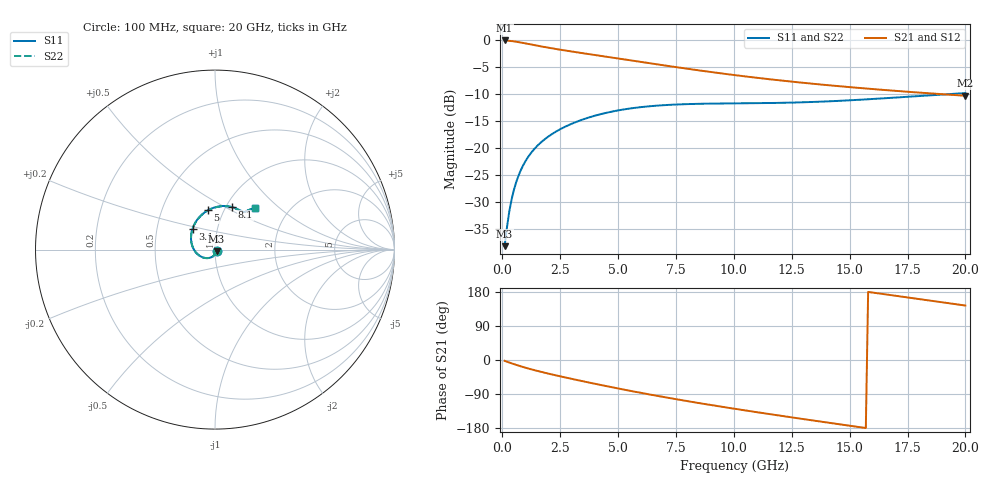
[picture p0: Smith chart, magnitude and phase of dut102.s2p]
! Touchstone file exported from HFSS 2023.1.0
!  File:  D:/Users/fzz/RDL_TSV/temp_RDL_TSV_102_1778749048.aedt
!  Generated:  5:06:19 %x4E0B%x5348  5%x6708 14, 2026
!  Design:  RDL_TSV
!  Project:  temp_RDL_TSV_102_1778749048
!  Setup:  Setup1
!  Solution:  Sweep
! Variables:
!  dtsv = 18.56um
!  hbump = 3um
!  htsv = 79.02um
!  ldown = 120.13um
!  lrdl = 639.95um
!  p = 40
!  p1 = 56.39um
!  rhole = 10um
!  subl = 2920.19um
!  t = 450um
!  tdown = 3.29um
!  trdl = 4.57um
!  viad = 10um
!  wdown = 24.02um
!  wrdl = 27.2um
!  xbump = 18um
# GHz S MA R 50.000000
! Terminal data exported
! Port[1] = TM1_1_T1
! Port[2] = TM1_4_T1
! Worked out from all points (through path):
!   200 points, 100 MHz to 20 GHz, reference 50 ohm
!   highest |S21| = -0.09 dB at 100 MHz (marker M1); lowest = -10.3 dB at 20 GHz (marker M2)
!   group delay of S21, straight-line fit = 28.3 ps
!   lowest |S11| = -38.2 dB at 100 MHz (marker M3), VSWR 1.03, Z = 50.9 - j0.882 ohm
!   |S11| at or under -10 dB: start of sweep to 19.36 GHz
!   |S22| runs from -38.2 to -9.9 dB; largest |S21 - S12| = 9.5e-15
!   S11 on the Smith chart (normalised r, x): 100 MHz: 1.02, -0.02; 3.1 GHz: 0.76, +0.18; 5 GHz: 0.84, +0.39; 8.1 GHz: 1.07, +0.54; 20 GHz: 1.36, +0.71
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0.1  0.01235 -44.5  0.9894 -2.3  0.9894 -2.3  0.01236 -44.5
! Gamma 0 0 0 0
! Port Impedance 50 0 50 0
0.2  0.01837 -72.4  0.9863 -4.5  0.9863 -4.5  0.01839 -72.4
0.3  0.02572 -88.3  0.9819 -6.7  0.9819 -6.7  0.02574 -88.2
0.4  0.03332 -99.5  0.9764 -8.8  0.9764 -8.8  0.03334 -99.5
0.5  0.04088 -108.6  0.9701 -10.8  0.9701 -10.8  0.0409 -108.5
0.7  0.05545 -123.8  0.9553 -14.8  0.9553 -14.8  0.05546 -123.7
1  0.07552 -142.8  0.9299 -20.3  0.9299 -20.3  0.0755 -142.7
1.4  0.09888 -163.9  0.8948 -27.1  0.8948 -27.1  0.09879 -163.7
1.8  0.1191 178.5  0.8621 -33.2  0.8621 -33.2  0.1189 178.6
2.4  0.1452 156.8  0.8191 -41.7  0.8191 -41.7  0.1448 156.9
3.1  0.1713 136.9  0.7757 -51.1  0.7757 -51.1  0.1707 137.0
3.5  0.1845 127.4  0.7529 -56.4  0.7529 -56.4  0.1837 127.5
4.2  0.2045 113.2  0.715 -65.3  0.715 -65.3  0.2036 113.3
5  0.2229 100.0  0.6739 -75.1  0.6739 -75.1  0.2217 100.1
6.8  0.2478 78.6  0.5897 -95.8  0.5897 -95.8  0.2463 78.7
8.1  0.2553 68.3  0.5372 -109.6  0.5372 -109.6  0.2537 68.4
10.1  0.259 58.4  0.471 -129.3  0.471 -129.3  0.2573 58.6
11.7  0.2611 54.3  0.4292 -144.2  0.4292 -144.2  0.2595 54.4
13.4  0.2668 52.0  0.3934 -159.4  0.3934 -159.4  0.2653 52.1
15  0.2763 50.7  0.366 -173.4  0.366 -173.4  0.275 50.9
16.7  0.2905 49.5  0.3417 171.9  0.3417 171.9  0.2892 49.6
20  0.3224 46.1  0.3047 143.7  0.3047 143.7  0.3212 46.2
